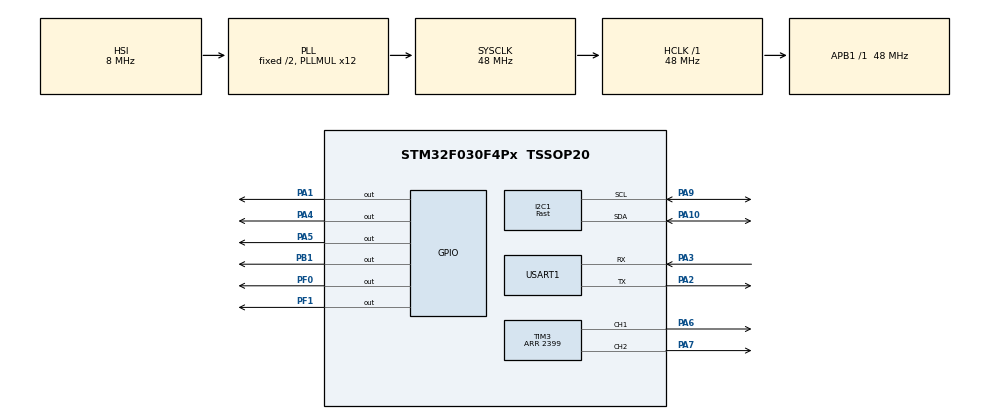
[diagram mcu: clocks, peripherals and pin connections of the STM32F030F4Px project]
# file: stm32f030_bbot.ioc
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I2C1.I2C_Speed_Mode=I2C_Fast
I2C1.Timing=0x0000020B
Mcu.Family=STM32F0
Mcu.Name=STM32F030F4Px
Mcu.Package=TSSOP20
NVIC.TIM17_IRQn=true\:1\:0\:true
PA1.Signal=GPIO_Output
PA10.Mode=I2C
PA10.Signal=I2C1_SDA
PA13.Mode=Serial-WireDebug
PA13.Signal=SYS_SWDIO
PA14.Mode=Serial-WireDebug
PA14.Signal=SYS_SWCLK
PA2.Mode=Asynchronous
PA2.Signal=USART1_TX
PA3.Mode=Asynchronous
PA3.Signal=USART1_RX
PA4.Signal=GPIO_Output
PA5.Signal=GPIO_Output
PA6.Signal=S_TIM3_CH1
PA7.Signal=S_TIM3_CH2
PA9.Mode=I2C
PA9.Signal=I2C1_SCL
PB1.Signal=GPIO_Output
PF0-OSC_IN.Signal=GPIO_Output
PF1-OSC_OUT.Signal=GPIO_Output
ProjectManager.TargetToolchain=MDK-ARM V5
RCC.AHBFreq_Value=48000000
RCC.APB1Freq_Value=48000000
RCC.APB1TimFreq_Value=48000000
RCC.HCLKFreq_Value=48000000
RCC.PLLMUL=RCC_PLL_MUL12
RCC.SYSCLKFreq_VALUE=48000000
RCC.SYSCLKSource=RCC_SYSCLKSOURCE_PLLCLK
SH.S_TIM3_CH1.0=TIM3_CH1,PWM Generation1 CH1
SH.S_TIM3_CH2.0=TIM3_CH2,PWM Generation2 CH2
TIM17.Period=999
TIM17.Prescaler=47
TIM3.Channel-PWM\ Generation2\ CH2=TIM_CHANNEL_2
TIM3.Period=2399
VP_TIM14_VS_ClockSourceINT.Mode=Enable_Timer
VP_TIM16_VS_ClockSourceINT.Mode=Enable_Timer
VP_TIM17_VS_ClockSourceINT.Mode=Enable_Timer
board=stm32f030_bbot

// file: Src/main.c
/**
  ******************************************************************************
  * File Name          : main.c
  * Description        : Main program body
  ******************************************************************************
  *
  * COPYRIGHT(c) 2015 STMicroelectronics
  *
  * Redistribution and use in source and binary forms, with or without modification,
  * are permitted provided that the following conditions are met:
  *   1. Redistributions of source code must retain the above copyright notice,
  *      this list of conditions and the following disclaimer.
  *   2. Redistributions in binary form must reproduce the above copyright notice,
  *      this list of conditions and the following disclaimer in the documentation
  *      and/or other materials provided with the distribution.
  *   3. Neither the name of STMicroelectronics nor the names of its contributors
  *      may be used to endorse or promote products derived from this software
  *      without specific prior written permission.
  *
  * THIS SOFTWARE IS PROVIDED BY THE COPYRIGHT HOLDERS AND CONTRIBUTORS "AS IS"
  * AND ANY EXPRESS OR IMPLIED WARRANTIES, INCLUDING, BUT NOT LIMITED TO, THE
  * IMPLIED WARRANTIES OF MERCHANTABILITY AND FITNESS FOR A PARTICULAR PURPOSE ARE
  * DISCLAIMED. IN NO EVENT SHALL THE COPYRIGHT HOLDER OR CONTRIBUTORS BE LIABLE
  * FOR ANY DIRECT, INDIRECT, INCIDENTAL, SPECIAL, EXEMPLARY, OR CONSEQUENTIAL
  * DAMAGES (INCLUDING, BUT NOT LIMITED TO, PROCUREMENT OF SUBSTITUTE GOODS OR
  * SERVICES; LOSS OF USE, DATA, OR PROFITS; OR BUSINESS INTERRUPTION) HOWEVER
  * CAUSED AND ON ANY THEORY OF LIABILITY, WHETHER IN CONTRACT, STRICT LIABILITY,
  * OR TORT (INCLUDING NEGLIGENCE OR OTHERWISE) ARISING IN ANY WAY OUT OF THE USE
  * OF THIS SOFTWARE, EVEN IF ADVISED OF THE POSSIBILITY OF SUCH DAMAGE.
  *
  ******************************************************************************
  */
#include "stm32f0xx_hal.h"

/* USER CODE BEGIN Includes */

#include "math.h"

// l298n pin
#define motorA_dir1   GPIO_PIN_1
#define motorA_dir2   GPIO_PIN_4
#define motorB_dir1   GPIO_PIN_5
#define motorB_dir2   GPIO_PIN_1

// limitation
#define maximum_pwm   1023
#define maximum_angle   15

// feed forward fiction
#define feed_fiction  0

// Sampling period
#define period  20.0f

// PID parameter
#define Kp_yaw      7.59f
#define Ki_yaw      0.1f
#define Kd_yaw      1.6f

#define Kp_pitch    2.65f
#define Ki_pitch    0.1f
#define Kd_pitch    1.24f

// parameter
#define beta                        0.1f
#define ACCELEROMETER_SENSITIVITY   16384.0f
#define GYROSCOPE_SENSITIVITY       131.07f
#define M_PI                        3.14159265359f
#define limmit_I                    300.0f
#define gx_diff      -63.487953f
#define gy_diff      -170.66997f
#define gz_diff      19.365036f

//Magnetometer Registers
#define AK8963_ADDRESS   0x0C
#define WHO_AM_I_AK8963  0x00 // should return 0x48
#define INFO             0x01
#define AK8963_ST1       0x02  // data ready status bit 0
#define AK8963_XOUT_L  0x03  // data
#define AK8963_XOUT_H  0x04
#define AK8963_YOUT_L  0x05
#define AK8963_YOUT_H  0x06
#define AK8963_ZOUT_L  0x07
#define AK8963_ZOUT_H  0x08
#define AK8963_ST2       0x09  // Data overflow bit 3 and data read error status bit 2
#define AK8963_CNTL      0x0A  // Power down (0000), single-measurement (0001), self-test (1000) and Fuse ROM (1111) modes on bits 3:0
#define AK8963_ASTC      0x0C  // Self test control
#define AK8963_I2CDIS    0x0F  // I2C disable
#define AK8963_ASAX      0x10  // Fuse ROM x-axis sensitivity adjustment value
#define AK8963_ASAY      0x11  // Fuse ROM y-axis sensitivity adjustment value
#define AK8963_ASAZ      0x12  // Fuse ROM z-axis sensitivity adjustment value

#define SELF_TEST_X_GYRO 0x00
#define SELF_TEST_Y_GYRO 0x01
#define SELF_TEST_Z_GYRO 0x02

/*#define X_FINE_GAIN      0x03 // [7:0] fine gain
#define Y_FINE_GAIN      0x04
#define Z_FINE_GAIN      0x05
#define XA_OFFSET_H      0x06 // User-defined trim values for accelerometer
#define XA_OFFSET_L_TC   0x07
#define YA_OFFSET_H      0x08
#define YA_OFFSET_L_TC   0x09
#define ZA_OFFSET_H      0x0A
#define ZA_OFFSET_L_TC   0x0B */

#define SELF_TEST_X_ACCEL 0x0D
#define SELF_TEST_Y_ACCEL 0x0E
#define SELF_TEST_Z_ACCEL 0x0F

#define SELF_TEST_A      0x10

#define XG_OFFSET_H      0x13  // User-defined trim values for gyroscope
#define XG_OFFSET_L      0x14
#define YG_OFFSET_H      0x15
#define YG_OFFSET_L      0x16
#define ZG_OFFSET_H      0x17
#define ZG_OFFSET_L      0x18
#define SMPLRT_DIV       0x19
#define CONFIG           0x1A
#define GYRO_CONFIG      0x1B
#define ACCEL_CONFIG     0x1C
#define ACCEL_CONFIG2    0x1D
#define LP_ACCEL_ODR     0x1E
#define WOM_THR          0x1F

#define MOT_DUR          0x20  // Duration counter threshold for motion interrupt generation, 1 kHz rate, LSB = 1 ms
#define ZMOT_THR         0x21  // Zero-motion detection threshold bits [7:0]
#define ZRMOT_DUR        0x22  // Duration counter threshold for zero motion interrupt generation, 16 Hz rate, LSB = 64 ms

#define FIFO_EN          0x23
#define I2C_MST_CTRL     0x24
#define I2C_SLV0_ADDR    0x25
#define I2C_SLV0_REG     0x26
#define I2C_SLV0_CTRL    0x27
#define I2C_SLV1_ADDR    0x28
#define I2C_SLV1_REG     0x29
#define I2C_SLV1_CTRL    0x2A
#define I2C_SLV2_ADDR    0x2B
#define I2C_SLV2_REG     0x2C
#define I2C_SLV2_CTRL    0x2D
#define I2C_SLV3_ADDR    0x2E
#define I2C_SLV3_REG     0x2F
#define I2C_SLV3_CTRL    0x30
#define I2C_SLV4_ADDR    0x31
#define I2C_SLV4_REG     0x32
#define I2C_SLV4_DO      0x33
#define I2C_SLV4_CTRL    0x34
#define I2C_SLV4_DI      0x35
#define I2C_MST_STATUS   0x36
#define INT_PIN_CFG      0x37
#define INT_ENABLE       0x38
#define DMP_INT_STATUS   0x39  // Check DMP interrupt
#define INT_STATUS       0x3A
#define ACCEL_XOUT_H     0x3B
#define ACCEL_XOUT_L     0x3C
#define ACCEL_YOUT_H     0x3D
#define ACCEL_YOUT_L     0x3E
#define ACCEL_ZOUT_H     0x3F
#define ACCEL_ZOUT_L     0x40
#define TEMP_OUT_H       0x41
#define TEMP_OUT_L       0x42
#define GYRO_XOUT_H      0x43
#define GYRO_XOUT_L      0x44
#define GYRO_YOUT_H      0x45
#define GYRO_YOUT_L      0x46
#define GYRO_ZOUT_H      0x47
#define GYRO_ZOUT_L      0x48
#define EXT_SENS_DATA_00 0x49
#define EXT_SENS_DATA_01 0x4A
#define EXT_SENS_DATA_02 0x4B
#define EXT_SENS_DATA_03 0x4C
#define EXT_SENS_DATA_04 0x4D
#define EXT_SENS_DATA_05 0x4E
#define EXT_SENS_DATA_06 0x4F
#define EXT_SENS_DATA_07 0x50
#define EXT_SENS_DATA_08 0x51
#define EXT_SENS_DATA_09 0x52
#define EXT_SENS_DATA_10 0x53
#define EXT_SENS_DATA_11 0x54
#define EXT_SENS_DATA_12 0x55
#define EXT_SENS_DATA_13 0x56
#define EXT_SENS_DATA_14 0x57
#define EXT_SENS_DATA_15 0x58
#define EXT_SENS_DATA_16 0x59
#define EXT_SENS_DATA_17 0x5A
#define EXT_SENS_DATA_18 0x5B
#define EXT_SENS_DATA_19 0x5C
#define EXT_SENS_DATA_20 0x5D
#define EXT_SENS_DATA_21 0x5E
#define EXT_SENS_DATA_22 0x5F
#define EXT_SENS_DATA_23 0x60
#define MOT_DETECT_STATUS 0x61
#define I2C_SLV0_DO      0x63
#define I2C_SLV1_DO      0x64
#define I2C_SLV2_DO      0x65
#define I2C_SLV3_DO      0x66
#define I2C_MST_HAL_Delay_CTRL 0x67
#define SIGNAL_PATH_RESET  0x68
#define MOT_DETECT_CTRL  0x69
#define USER_CTRL        0x6A  // Bit 7 enable DMP, bit 3 reset DMP
#define PWR_MGMT_1       0x6B // Device defaults to the SLEEP mode
#define PWR_MGMT_2       0x6C
#define DMP_BANK         0x6D  // Activates a specific bank in the DMP
#define DMP_RW_PNT       0x6E  // Set read/write pointer to a specific start address in specified DMP bank
#define DMP_REG          0x6F  // Register in DMP from which to read or to which to write
#define DMP_REG_1        0x70
#define DMP_REG_2        0x71
#define FIFO_COUNTH      0x72
#define FIFO_COUNTL      0x73
#define FIFO_R_W         0x74
#define WHO_AM_I_MPU9250 0x75 // Should return 0x71
#define XA_OFFSET_H      0x77
#define XA_OFFSET_L      0x78
#define YA_OFFSET_H      0x7A
#define YA_OFFSET_L      0x7B
#define ZA_OFFSET_H      0x7D
#define ZA_OFFSET_L      0x7E

// Using the MSENSR-9250 breakout board, ADO is set to 0
// Seven-bit device address is 110100 for ADO = 0 and 110101 for ADO = 1

#define MPU9250_ADDRESS 0x68<<1    // Device address when ADO = 0
#define AK8963_ADDRESS 0x0C<<1   //  Address of magnetometer

/* USER CODE END Includes */

I2C_HandleTypeDef hi2c1;

TIM_HandleTypeDef htim3;
TIM_HandleTypeDef htim14;
TIM_HandleTypeDef htim16;
TIM_HandleTypeDef htim17;

UART_HandleTypeDef huart1;

/* USER CODE BEGIN PV */
/* Private variables ---------------------------------------------------------*/
// all variables
// Set initial input parameters
enum Ascale {
  AFS_2G = 0,
  AFS_4G,
  AFS_8G,
  AFS_16G
};

enum Gscale {
  GFS_250DPS = 0,
  GFS_500DPS,
  GFS_1000DPS,
  GFS_2000DPS
};

enum Mscale {
  MFS_14BITS = 0, // 0.6 mG per LSB
  MFS_16BITS      // 0.15 mG per LSB
};

// Specify sensor full scale
uint8_t Gscale = GFS_250DPS;
uint8_t Ascale = AFS_2G;
uint8_t Mscale = MFS_16BITS; // Choose either 14-bit or 16-bit magnetometer resolution
uint8_t Mmode = 0x02;        // 2 for 8 Hz, 6 for 100 Hz continuous magnetometer data read

int16_t accelCount[3];  // Stores the 16-bit signed accelerometer sensor output
int16_t gyroCount[3];   // Stores the 16-bit signed gyro sensor output
int16_t magCount[3];    // Stores the 16-bit signed magnetometer sensor output

float Sampling = 0;

// ref
float yaw_center=0;

// quaternion member
float q1 = 1;
float q2 = 1;
float q3 = 1;
float q4 = 1;

// euler anglr
float q_pitch, q_yaw, motor_A, motor_B;

// error
float Error_yaw=0, Errer_pitch=0;
float Sum_Error_yaw=0, Sum_Error_pitch=0;
float D_Error_yaw=0, D_Error_pitch=0;
float Del_yaw=0, Del_pitch=0;

/* USER CODE END PV */

void SystemClock_Config(void);
static void MX_GPIO_Init(void);
static void MX_I2C1_Init(void);
static void MX_TIM3_Init(void);
static void MX_TIM14_Init(void);
static void MX_TIM16_Init(void);
static void MX_TIM17_Init(void);
static void MX_USART1_UART_Init(void);

/* USER CODE BEGIN PFP */
/* Private function prototypes -----------------------------------------------*/
void writeByte(uint8_t slaveAddr, uint8_t regAddr, uint8_t data);
uint8_t readByte(uint8_t address, uint8_t subAddress);
void readBytes(uint8_t address, uint8_t subAddress, uint8_t count, uint8_t * dest);
float Smooth_filter(float alfa, float new_data, float prev_data);
void readAccelData(int16_t * destination);
void readGyroData(int16_t * destination);
void readMagData(int16_t * destination);
int16_t readTempData();
void initAK8963();
void initMPU9250();
void motor_drive(float motorA, float motorB);
void init_mpu();
void init_pin();
void motor_disable();
void read_mpu();
void Ahrs();
void PID_controller();
void Sampling_do();

/* USER CODE END PFP */

/* USER CODE BEGIN 0 */
float a1,a2,a3,g1,g2,g3,m1,m2,m3;
/* USER CODE END 0 */

int main(void)
{

  /* MCU Configuration----------------------------------------------------------*/

  /* Reset of all peripherals, Initializes the Flash interface and the Systick. */
  HAL_Init();

  /* Configure the system clock */
  SystemClock_Config();

  /* Initialize all configured peripherals */
  MX_GPIO_Init();
  MX_I2C1_Init();
  MX_TIM3_Init();
  MX_TIM14_Init();
  MX_TIM16_Init();
  MX_TIM17_Init();
  MX_USART1_UART_Init();

  /* USER CODE BEGIN 2 */

  init_mpu();

  /* USER CODE END 2 */

  /* Infinite loop */
  while (1)
  {
		Sampling_do();
  }

}

/** System Clock Configuration
*/
void SystemClock_Config(void)
{

  RCC_OscInitTypeDef RCC_OscInitStruct;
  RCC_ClkInitTypeDef RCC_ClkInitStruct;
  RCC_PeriphCLKInitTypeDef PeriphClkInit;

  RCC_OscInitStruct.OscillatorType = RCC_OSCILLATORTYPE_HSI;
  RCC_OscInitStruct.HSIState = RCC_HSI_ON;
  RCC_OscInitStruct.HSICalibrationValue = 16;
  RCC_OscInitStruct.PLL.PLLState = RCC_PLL_ON;
  RCC_OscInitStruct.PLL.PLLSource = RCC_PLLSOURCE_HSI;
  RCC_OscInitStruct.PLL.PLLMUL = RCC_PLL_MUL12;
  RCC_OscInitStruct.PLL.PREDIV = RCC_PREDIV_DIV1;
  HAL_RCC_OscConfig(&RCC_OscInitStruct);

  RCC_ClkInitStruct.ClockType = RCC_CLOCKTYPE_SYSCLK;
  RCC_ClkInitStruct.SYSCLKSource = RCC_SYSCLKSOURCE_PLLCLK;
  RCC_ClkInitStruct.AHBCLKDivider = RCC_SYSCLK_DIV1;
  RCC_ClkInitStruct.APB1CLKDivider = RCC_HCLK_DIV1;
  HAL_RCC_ClockConfig(&RCC_ClkInitStruct, FLASH_LATENCY_1);

  PeriphClkInit.PeriphClockSelection = RCC_PERIPHCLK_USART1|RCC_PERIPHCLK_I2C1;
  PeriphClkInit.Usart1ClockSelection = RCC_USART1CLKSOURCE_PCLK1;
  PeriphClkInit.I2c1ClockSelection = RCC_I2C1CLKSOURCE_HSI;
  HAL_RCCEx_PeriphCLKConfig(&PeriphClkInit);

  HAL_SYSTICK_Config(HAL_RCC_GetHCLKFreq()/1000);

  HAL_SYSTICK_CLKSourceConfig(SYSTICK_CLKSOURCE_HCLK);

}

/* I2C1 init function */
void MX_I2C1_Init(void)
{

  hi2c1.Instance = I2C1;
  hi2c1.Init.Timing = 0x0000020B;
  hi2c1.Init.OwnAddress1 = 0;
  hi2c1.Init.AddressingMode = I2C_ADDRESSINGMODE_7BIT;
  hi2c1.Init.DualAddressMode = I2C_DUALADDRESS_DISABLED;
  hi2c1.Init.OwnAddress2 = 0;
  hi2c1.Init.OwnAddress2Masks = I2C_OA2_NOMASK;
  hi2c1.Init.GeneralCallMode = I2C_GENERALCALL_DISABLED;
  hi2c1.Init.NoStretchMode = I2C_NOSTRETCH_DISABLED;
  HAL_I2C_Init(&hi2c1);

    /**Configure Analogue filter
    */
  HAL_I2CEx_AnalogFilter_Config(&hi2c1, I2C_ANALOGFILTER_ENABLED);

}

/* TIM3 init function */
void MX_TIM3_Init(void)
{

  TIM_MasterConfigTypeDef sMasterConfig;
  TIM_OC_InitTypeDef sConfigOC;

  htim3.Instance = TIM3;
  htim3.Init.Prescaler = 0;
  htim3.Init.CounterMode = TIM_COUNTERMODE_UP;
  htim3.Init.Period = 2399;
  htim3.Init.ClockDivision = TIM_CLOCKDIVISION_DIV1;
  HAL_TIM_PWM_Init(&htim3);

  sMasterConfig.MasterOutputTrigger = TIM_TRGO_RESET;
  sMasterConfig.MasterSlaveMode = TIM_MASTERSLAVEMODE_DISABLE;
  HAL_TIMEx_MasterConfigSynchronization(&htim3, &sMasterConfig);

  sConfigOC.OCMode = TIM_OCMODE_PWM1;
  sConfigOC.Pulse = 0;
  sConfigOC.OCPolarity = TIM_OCPOLARITY_HIGH;
  sConfigOC.OCFastMode = TIM_OCFAST_DISABLE;
  HAL_TIM_PWM_ConfigChannel(&htim3, &sConfigOC, TIM_CHANNEL_1);

  HAL_TIM_PWM_ConfigChannel(&htim3, &sConfigOC, TIM_CHANNEL_2);

}

/* TIM14 init function */
void MX_TIM14_Init(void)
{

  htim14.Instance = TIM14;
  htim14.Init.Prescaler = 0;
  htim14.Init.CounterMode = TIM_COUNTERMODE_UP;
  htim14.Init.Period = 0;
  htim14.Init.ClockDivision = TIM_CLOCKDIVISION_DIV1;
  HAL_TIM_Base_Init(&htim14);

}

/* TIM16 init function */
void MX_TIM16_Init(void)
{

  htim16.Instance = TIM16;
  htim16.Init.Prescaler = 0;
  htim16.Init.CounterMode = TIM_COUNTERMODE_UP;
  htim16.Init.Period = 0;
  htim16.Init.ClockDivision = TIM_CLOCKDIVISION_DIV1;
  htim16.Init.RepetitionCounter = 0;
  HAL_TIM_Base_Init(&htim16);

}

/* TIM17 init function */
void MX_TIM17_Init(void)
{

  htim17.Instance = TIM17;
  htim17.Init.Prescaler = 0;
  htim17.Init.CounterMode = TIM_COUNTERMODE_UP;
  htim17.Init.Period = 0;
  htim17.Init.ClockDivision = TIM_CLOCKDIVISION_DIV1;
  htim17.Init.RepetitionCounter = 0;
  HAL_TIM_Base_Init(&htim17);

}

/* USART1 init function */
void MX_USART1_UART_Init(void)
{

  huart1.Instance = USART1;
  huart1.Init.BaudRate = 38400;
  huart1.Init.WordLength = UART_WORDLENGTH_8B;
  huart1.Init.StopBits = UART_STOPBITS_1;
  huart1.Init.Parity = UART_PARITY_NONE;
  huart1.Init.Mode = UART_MODE_TX_RX;
  huart1.Init.HwFlowCtl = UART_HWCONTROL_NONE;
  huart1.Init.OverSampling = UART_OVERSAMPLING_16;
  huart1.Init.OneBitSampling = UART_ONEBIT_SAMPLING_DISABLED ;
  huart1.AdvancedInit.AdvFeatureInit = UART_ADVFEATURE_NO_INIT;
  HAL_UART_Init(&huart1);

}

/** Configure pins as
        * Analog
        * Input
        * Output
        * EVENT_OUT
        * EXTI
*/
void MX_GPIO_Init(void)
{

  GPIO_InitTypeDef GPIO_InitStruct;

  /* GPIO Ports Clock Enable */
  __GPIOF_CLK_ENABLE();
  __GPIOA_CLK_ENABLE();
  __GPIOB_CLK_ENABLE();

  /*Configure GPIO pins : PF0 PF1 */
  GPIO_InitStruct.Pin = GPIO_PIN_0|GPIO_PIN_1;
  GPIO_InitStruct.Mode = GPIO_MODE_OUTPUT_PP;
  GPIO_InitStruct.Pull = GPIO_NOPULL;
  GPIO_InitStruct.Speed = GPIO_SPEED_LOW;
  HAL_GPIO_Init(GPIOF, &GPIO_InitStruct);

  /*Configure GPIO pins : PA1 PA4 PA5 */
  GPIO_InitStruct.Pin = GPIO_PIN_1|GPIO_PIN_4|GPIO_PIN_5;
  GPIO_InitStruct.Mode = GPIO_MODE_OUTPUT_PP;
  GPIO_InitStruct.Pull = GPIO_NOPULL;
  GPIO_InitStruct.Speed = GPIO_SPEED_LOW;
  HAL_GPIO_Init(GPIOA, &GPIO_InitStruct);

  /*Configure GPIO pin : PB1 */
  GPIO_InitStruct.Pin = GPIO_PIN_1;
  GPIO_InitStruct.Mode = GPIO_MODE_OUTPUT_PP;
  GPIO_InitStruct.Pull = GPIO_NOPULL;
  GPIO_InitStruct.Speed = GPIO_SPEED_LOW;
  HAL_GPIO_Init(GPIOB, &GPIO_InitStruct);

}

/* USER CODE BEGIN 4 */
void Sampling_do()
{
	read_mpu();

	HAL_Delay(30);
//  Ahrs();

//  PID_controller();
//  motor_disable();
//  motor_drive(motor_A, motor_B);

	a1=accelCount[0];
	a2=accelCount[1];
	a3=accelCount[2];
	g1=gyroCount[0];
	g2=gyroCount[1];
	g3=gyroCount[2];
	m1=magCount[0];
	m2=magCount[1];
	m3=magCount[2];

	HAL_GPIO_TogglePin(GPIOF, GPIO_PIN_1);
}

void PID_controller()
{
  float Buf_D_Error_yaw   =Error_yaw;
  float Buf_D_Errer_pitch =Errer_pitch;

  yaw_center += 0.0f /Sampling     ;

  Error_yaw   = yaw_center - q_yaw  ;
  Errer_pitch = 0.0f - q_pitch ;

  D_Error_yaw =  (Error_yaw-Buf_D_Error_yaw)    *Sampling ;
  D_Error_pitch =(Errer_pitch-Buf_D_Errer_pitch)*Sampling ;

  //  if (((ch1>-2)&&(ch1<2))&&((ch2>-2)&&(ch2<2))&&((ch4>-2)&&(ch4<2)))
  //  {
  //    Sum_Error_yaw   += Error_yaw   /Sampling ;
  //    Sum_Error_pitch += Errer_pitch /Sampling ;
  //    Sum_Error_roll  += Error_roll  /Sampling ;
  //
  //        // protect
  //    if(Sum_Error_yaw>limmit_I)Sum_Error_yaw     =limmit_I;
  //    if(Sum_Error_yaw<-limmit_I)Sum_Error_yaw    =-limmit_I;
  //    if(Sum_Error_pitch>limmit_I)Sum_Error_pitch   =limmit_I;
  //    if(Sum_Error_pitch<-limmit_I)Sum_Error_pitch  =-limmit_I;
  //    if(Sum_Error_roll>limmit_I)Sum_Error_roll     =limmit_I;
  //    if(Sum_Error_roll<-limmit_I)Sum_Error_roll    =-limmit_I;
  //  }

  Del_yaw   = (Kp_yaw   * Error_yaw)    + (Ki_yaw * Sum_Error_yaw)       + (Kd_yaw * D_Error_yaw) ;
  Del_pitch = (Kp_pitch * Errer_pitch)  + (Ki_pitch * Sum_Error_pitch)   + (Kd_pitch * D_Error_pitch) ;

  motor_A = Del_pitch  -Del_yaw ;
  motor_B = Del_pitch  +Del_yaw ;
}

void Ahrs()
{
  // quaternion base process
  float Norm;
  float ax = accelCount[0];
  float ay = accelCount[1];
  float az = accelCount[2];
  float gx =((gyroCount[0]-gx_diff)/ GYROSCOPE_SENSITIVITY )*M_PI/180.0f ;
  float gy =((gyroCount[1]-gy_diff)/ GYROSCOPE_SENSITIVITY )*M_PI/180.0f ;
  float gz =((gyroCount[2]-gz_diff)/ GYROSCOPE_SENSITIVITY )*M_PI/180.0f ;

  float q1_dot = 0.5f * (-q2 * gx - q3 * gy - q4 * gz);
  float q2_dot = 0.5f * ( q1 * gx + q3 * gz - q4 * gy);
  float q3_dot = 0.5f * ( q1 * gy - q2 * gz + q4 * gx);
  float q4_dot = 0.5f * ( q1 * gz + q2 * gy - q3 * gx);

  if(!((ax == 0) && (ay == 0) && (az == 0))) {
    // Normalise
    Norm = sqrtf(ax * ax + ay * ay + az * az);
    ax /= Norm;
    ay /= Norm;
    az /= Norm;

     float _2q1 = 2.0f * q1;
     float _2q2 = 2.0f * q2;
     float _2q3 = 2.0f * q3;
     float _2q4 = 2.0f * q4;
     float _4q1 = 4.0f * q1;
     float _4q2 = 4.0f * q2;
     float _4q3 = 4.0f * q3;
     float _8q2 = 8.0f * q2;
     float _8q3 = 8.0f * q3;
     float q1q1 = q1 * q1;
     float q2q2 = q2 * q2;
     float q3q3 = q3 * q3;
     float q4q4 = q4 * q4;
    // Gradient decent
     float s1 = _4q1 * q3q3 + _2q4 * ax + _4q1 * q2q2 - _2q2 * ay;
     float s2 = _4q2 * q4q4 - _2q4 * ax + 4.0f * q1q1 * q2 - _2q1 * ay - _4q2 + _8q2 * q2q2 + _8q2 * q3q3 + _4q2 * az;
     float s3 = 4.0f * q1q1 * q3 + _2q1 * ax + _4q3 * q4q4 - _2q4 * ay - _4q3 + _8q3 * q2q2 + _8q3 * q3q3 + _4q3 * az;
     float s4 = 4.0f * q2q2 * q4 - _2q2 * ax + 4.0f * q3q3 * q4 - _2q3 * ay;
    // Normalise
    Norm = sqrtf(s1 * s1 + s2 * s2 + s3 * s3 + s4 * s4); // normalise step magnitude
    s1 /= Norm;
    s2 /= Norm;
    s3 /= Norm;
    s4 /= Norm;
    // compensate acc
    q1_dot -= (beta * s1);
    q2_dot -= (beta * s2);
    q3_dot -= (beta * s3);
    q4_dot -= (beta * s4);
  }
  // Integrate
  q1 += q1_dot / Sampling;
  q2 += q2_dot / Sampling;
  q3 += q3_dot / Sampling;
  q4 += q4_dot / Sampling;
  // Normalise
  Norm = sqrtf(q1 * q1 + q2 * q2 + q3 * q3 + q4 * q4 );
  q1 /= Norm;
  q2 /= Norm;
  q3 /= Norm;
  q4 /= Norm;
  // convert to euler
   float y_pitch =  2.0f*(q3*q4 + q1*q2);
   float x =  2.0f*(0.5f - q2*q2 - q3*q3);

  //  q_pitch = (atan2f(y_pitch,x))* -180.0f / M_PI;
  q_pitch  = (asinf(-2.0f*(q2*q4 - q1*q3)))*180.0f / M_PI;
  q_yaw   += gz/Sampling * 180.0f / M_PI ;
}

void read_mpu()
{
  readAccelData(accelCount);  // Read the x/y/z adc values
  readGyroData(gyroCount);  // Read the x/y/z adc values
  readMagData(magCount);  // Read the x/y/z adc values
}

void motor_drive(float motorA, float motorB)
{
  if (motorA > 0)
  {
    HAL_GPIO_WritePin(GPIOA, motorA_dir1, GPIO_PIN_SET);
    HAL_GPIO_WritePin(GPIOA, motorA_dir2, GPIO_PIN_RESET);
  }else{
    motorA = -motorA;
    HAL_GPIO_WritePin(GPIOA, motorA_dir1, GPIO_PIN_RESET);
    HAL_GPIO_WritePin(GPIOA, motorA_dir2, GPIO_PIN_SET);
  }
  if (motorB > 0)
  {
    HAL_GPIO_WritePin(GPIOA, motorB_dir1, GPIO_PIN_SET);
    HAL_GPIO_WritePin(GPIOB, motorB_dir2, GPIO_PIN_RESET);
  }else{
    motorB = -motorB;
    HAL_GPIO_WritePin(GPIOA, motorB_dir1, GPIO_PIN_RESET);
    HAL_GPIO_WritePin(GPIOB, motorB_dir2, GPIO_PIN_SET);
  }

  if (motorA != 0 && motorB != 0)
  {
    motorA += feed_fiction;
    motorB += feed_fiction;
  }

  if (motorA > maximum_pwm) motorA = maximum_pwm;
  if (motorB > maximum_pwm) motorB = maximum_pwm;

	TIM3 ->CCR1 = motorA ;
	TIM3 ->CCR2 = motorB ;
}

void init_mpu()
{
  HAL_Delay(100);
  initMPU9250();
  initAK8963();
}

void motor_disable()
{
  motor_A = 0;
  motor_B = 0;
}

float Smooth_filter(float alfa, float new_data, float prev_data)
{
  float output = prev_data + (alfa * (new_data - prev_data));
  return output;
}

void readAccelData(int16_t * destination)
{
  uint8_t rawData[6];  // x/y/z accel register data stored here
  readBytes(MPU9250_ADDRESS, ACCEL_XOUT_H, 6, rawData);  // Read the six raw data registers into data array
  destination[0] = ((int16_t)rawData[0] << 8) | rawData[1] ;  // Turn the MSB and LSB into a signed 16-bit value
  destination[1] = ((int16_t)rawData[2] << 8) | rawData[3] ;
  destination[2] = ((int16_t)rawData[4] << 8) | rawData[5] ;
}

void readGyroData(int16_t * destination)
{
  uint8_t rawData[6];  // x/y/z gyro register data stored here
  readBytes(MPU9250_ADDRESS, GYRO_XOUT_H, 6, rawData);  // Read the six raw data registers sequentially into data array
  destination[0] = ((int16_t)rawData[0] << 8) | rawData[1] ;  // Turn the MSB and LSB into a signed 16-bit value
  destination[1] = ((int16_t)rawData[2] << 8) | rawData[3] ;
  destination[2] = ((int16_t)rawData[4] << 8) | rawData[5] ;
}

void readMagData(int16_t * destination)
{
  uint8_t rawData[7];  // x/y/z gyro register data, ST2 register stored here, must read ST2 at end of data acquisition
  if(readByte(AK8963_ADDRESS, AK8963_ST1) & 0x01) { // wait for magnetometer data ready bit to be set
  readBytes(AK8963_ADDRESS, AK8963_XOUT_L, 7, rawData);  // Read the six raw data and ST2 registers sequentially into data array
  uint8_t c = rawData[6]; // End data read by reading ST2 register
    if(!(c & 0x08)) { // Check if magnetic sensor overflow set, if not then report data
    destination[0] = ((int16_t)rawData[1] << 8) | rawData[0] ;  // Turn the MSB and LSB into a signed 16-bit value
    destination[1] = ((int16_t)rawData[3] << 8) | rawData[2] ;  // Data stored as little Endian
    destination[2] = ((int16_t)rawData[5] << 8) | rawData[4] ;
   }
  }
}

int16_t readTempData()
{
  uint8_t rawData[2];  // x/y/z gyro register data stored here
  readBytes(MPU9250_ADDRESS, TEMP_OUT_H, 2, &rawData[0]);  // Read the two raw data registers sequentially into data array
  return ((int16_t)rawData[0] << 8) | rawData[1] ;  // Turn the MSB and LSB into a 16-bit value
}

void initAK8963()
{
  // First extract the factory calibration for each magnetometer axis
  uint8_t rawData[3];  // x/y/z gyro calibration data stored here
  writeByte(AK8963_ADDRESS, AK8963_CNTL, 0x00); // Power down magnetometer
  HAL_Delay(10);
  writeByte(AK8963_ADDRESS, AK8963_CNTL, 0x0F); // Enter Fuse ROM access mode
  HAL_Delay(10);
  writeByte(AK8963_ADDRESS, AK8963_CNTL, 0x00); // Power down magnetometer
  HAL_Delay(10);
  // Configure the magnetometer for continuous read and highest resolution
  // set Mscale bit 4 to 1 (0) to enable 16 (14) bit resolution in CNTL register,
  // and enable continuous mode data acquisition Mmode (bits [3:0]), 0010 for 8 Hz and 0110 for 100 Hz sample rates
  writeByte(AK8963_ADDRESS, AK8963_CNTL, Mscale << 4 | Mmode); // Set magnetometer data resolution and sample ODR
  HAL_Delay(10);
}

void initMPU9250()
{
   // wake up device
    writeByte(MPU9250_ADDRESS, PWR_MGMT_1, 0x00); // Clear sleep mode bit (6), enable all sensors
    HAL_Delay(100); // Wait for all registers to reset

   // get stable time source
    writeByte(MPU9250_ADDRESS, PWR_MGMT_1, 0x01);  // Auto select clock source to be PLL gyroscope reference if ready else
    HAL_Delay(200);

   // Configure Gyro and Thermometer
   // Disable FSYNC and set thermometer and gyro bandwidth to 41 and 42 Hz, respectively;
   // minimum HAL_Delay time for this setting is 5.9 ms, which means sensor fusion update rates cannot
   // be higher than 1 / 0.0059 = 170 Hz
   // DLPF_CFG = bits 2:0 = 011; this limits the sample rate to 1000 Hz for both
   // With the MPU9250, it is possible to get gyro sample rates of 32 kHz (!), 8 kHz, or 1 kHz
    writeByte(MPU9250_ADDRESS, CONFIG, 0x03);

   // Set sample rate = gyroscope output rate/(1 + SMPLRT_DIV)
    writeByte(MPU9250_ADDRESS, SMPLRT_DIV, 0x04);  // Use a 200 Hz rate; a rate consistent with the filter update rate
                                      // determined inset in CONFIG above

   // Set gyroscope full scale range
   // Range selects FS_SEL and AFS_SEL are 0 - 3, so 2-bit values are left-shifted into positions 4:3
    uint8_t c = readByte(MPU9250_ADDRESS, GYRO_CONFIG);
   //  writeRegister(GYRO_CONFIG, c & ~0xE0); // Clear self-test bits [7:5]
    writeByte(MPU9250_ADDRESS, GYRO_CONFIG, c & ~0x02); // Clear Fchoice bits [1:0]
    writeByte(MPU9250_ADDRESS, GYRO_CONFIG, c & ~0x18); // Clear AFS bits [4:3]
    writeByte(MPU9250_ADDRESS, GYRO_CONFIG, c | Gscale << 3); // Set full scale range for the gyro
   // writeRegister(GYRO_CONFIG, c | 0x00); // Set Fchoice for the gyro to 11 by writing its inverse to bits 1:0 of GYRO_CONFIG

   // Set accelerometer full-scale range configuration
    c = readByte(MPU9250_ADDRESS, ACCEL_CONFIG);
   //  writeRegister(ACCEL_CONFIG, c & ~0xE0); // Clear self-test bits [7:5]
    writeByte(MPU9250_ADDRESS, ACCEL_CONFIG, c & ~0x18); // Clear AFS bits [4:3]
    writeByte(MPU9250_ADDRESS, ACCEL_CONFIG, c | Ascale << 3); // Set full scale range for the accelerometer

   // Set accelerometer sample rate configuration
   // It is possible to get a 4 kHz sample rate from the accelerometer by choosing 1 for
   // accel_fchoice_b bit [3]; in this case the bandwidth is 1.13 kHz
    c = readByte(MPU9250_ADDRESS, ACCEL_CONFIG2);
    writeByte(MPU9250_ADDRESS, ACCEL_CONFIG2, c & ~0x0F); // Clear accel_fchoice_b (bit 3) and A_DLPFG (bits [2:0])
    writeByte(MPU9250_ADDRESS, ACCEL_CONFIG2, c | 0x03); // Set accelerometer rate to 1 kHz and bandwidth to 41 Hz

   // The accelerometer, gyro, and thermometer are set to 1 kHz sample rates,
   // but all these rates are further reduced by a factor of 5 to 200 Hz because of the SMPLRT_DIV setting

    // Configure Interrupts and Bypass Enable
    // Set interrupt pin active high, push-pull, hold interrupt pin level HIGH until interrupt cleared,
    // clear on read of INT_STATUS, and enable I2C_BYPASS_EN so additional chips
    // can join the I2C bus and all can be controlled by the Arduino as master
     // writeByte(MPU9250_ADDRESS, INT_PIN_CFG, 0x22);
     // writeByte(MPU9250_ADDRESS, INT_ENABLE, 0x01);  // Enable data ready (bit 0) interrupt
     HAL_Delay(100);
}

void writeByte(uint8_t slaveAddr, uint8_t regAddr, uint8_t data)
{
    HAL_I2C_Mem_Write(&hi2c1,slaveAddr,regAddr,1,&data,1,1);
}

uint8_t readByte(uint8_t address, uint8_t subAddress)
{
	uint8_t data; // `data` will store the register data
	HAL_I2C_Mem_Read(&hi2c1,address,subAddress, 1,&data, 1, 1);
	return data;                             // Return data read from slave register
}

void readBytes(uint8_t address, uint8_t subAddress, uint8_t count, uint8_t * dest)
{
	HAL_I2C_Mem_Read(&hi2c1,address,subAddress, 1, dest, count, 1);
}

/* USER CODE END 4 */

/************************ (C) COPYRIGHT STMicroelectronics *****END OF FILE****/
